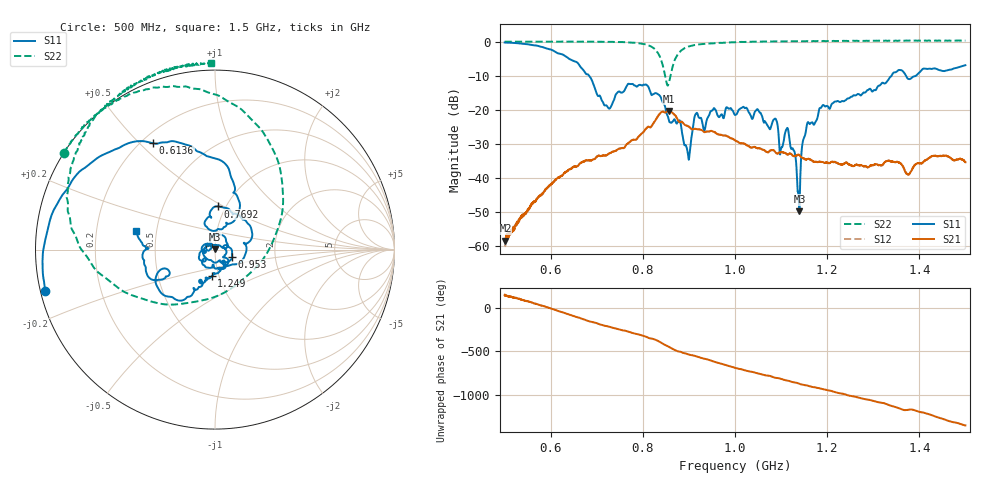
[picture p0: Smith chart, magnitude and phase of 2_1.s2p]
!Keysight Technologies,N5242B,MY48420860,A.13.80.08
!Date: Saturday, September 26, 2020 11:53:18
!Correction: S11(Full 2 Port(1,2))
!S21(Full 2 Port(1,2))
!S12(Full 2 Port(1,2))
!S22(Full 2 Port(1,2))
!S2P File: Measurements: S11, S21, S12, S22:
# Hz S  dB  R 50
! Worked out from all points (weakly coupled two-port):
!   2650 points, 500 MHz to 1.5 GHz, reference 50 ohm
!   highest |S21| = -20.34 dB at 857.5 MHz (marker M1); lowest = -58.4 dB at 501.9 MHz (marker M2)
!   lowest |S11| = -49.8 dB at 1.14 GHz (marker M3), VSWR 1.01, Z = 50.1 + j0.31 ohm
!   |S11| at or under -10 dB: 683.5 MHz to 1.34 GHz (656.2 MHz wide, 64.9 % of centre); 1.371 GHz to 1.393 GHz (21.55 MHz wide, 1.56 % of centre)
!   |S22| runs from -12.9 to 0.4 dB; largest |S21 - S12| = 0.00046
!   S11 on the Smith chart (normalised r, x): 500 MHz: 0.01, -0.12; 613.6 MHz: 0.25, +0.55; 769.2 MHz: 0.92, +0.47; 953 MHz: 1.21, -0.10; 1.249 GHz: 0.92, -0.28; 1.5 GHz: 0.38, +0.10
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5e8  -0.23 -166.3  -58.36 144.4  -58.43 145.9  -0.00 147.5
5.018875e8  -0.25 -167.3  -58.43 143.8  -57.73 137.6  0.01 147.4
6.136278e8  -3.29 120.2  -40.15 -30.9  -40.24 -31.1  0.02 138.3
6.668554e8  -7.72 77.3  -35.43 -124.0  -35.47 -124.1  0.02 132.8
7.253681e8  -19.51 88.2  -32.86 144.9  -32.96 145.0  -0.02 124.8
7.691582e8  -12.35 86.0  -29.71 85.2  -29.72 84.9  -0.20 115.2
8.337108e8  -15.46 -13.1  -21.63 -22.5  -21.64 -22.7  -3.53 62.9
8.574934e8  -23.51 -65.9  -20.34 -91.1  -20.36 -91.2  -11.53 -91.1
8.752359e8  -23.60 -118.9  -22.82 -139.0  -22.84 -139.0  -3.80 -167.2
8.98641e8  -33.72 109.9  -24.82 -174.4  -24.84 -174.5  -1.42 165.0
9.148735e8  -21.19 74.7  -25.61 163.9  -25.63 163.7  -0.93 155.5
9.530011e8  -19.71 -22.6  -26.41 103.7  -26.45 103.7  -0.45 143.6
1.000189e9  -21.50 -97.2  -28.96 29.4  -28.96 29.6  -0.15 135.9
1.087014e9  -22.57 175.6  -32.32 -84.2  -32.33 -84.1  0.07 125.8
1.100604e9  -31.14 176.6  -32.42 -97.7  -32.40 -98.1  0.09 124.4
1.113062e9  -25.35 156.2  -33.03 -116.7  -33.07 -116.7  0.11 123.2
1.139864e9  -49.79 72.6  -33.35 -154.6  -33.33 -154.7  0.15 120.8
1.149679e9  -28.24 23.2  -34.32 -166.6  -34.31 -166.6  0.16 120.3
1.166667e9  -23.68 -38.4  -34.86 171.4  -34.82 171.5  0.14 118.5
1.248962e9  -16.47 -97.2  -36.14 69.0  -36.09 69.6  0.27 111.9
1.333522e9  -11.02 -116.8  -34.92 -36.5  -34.94 -36.8  0.33 105.0
1.5e9  -6.89 166.7  -35.40 87.7  -35.52 87.2  0.34 91.2
